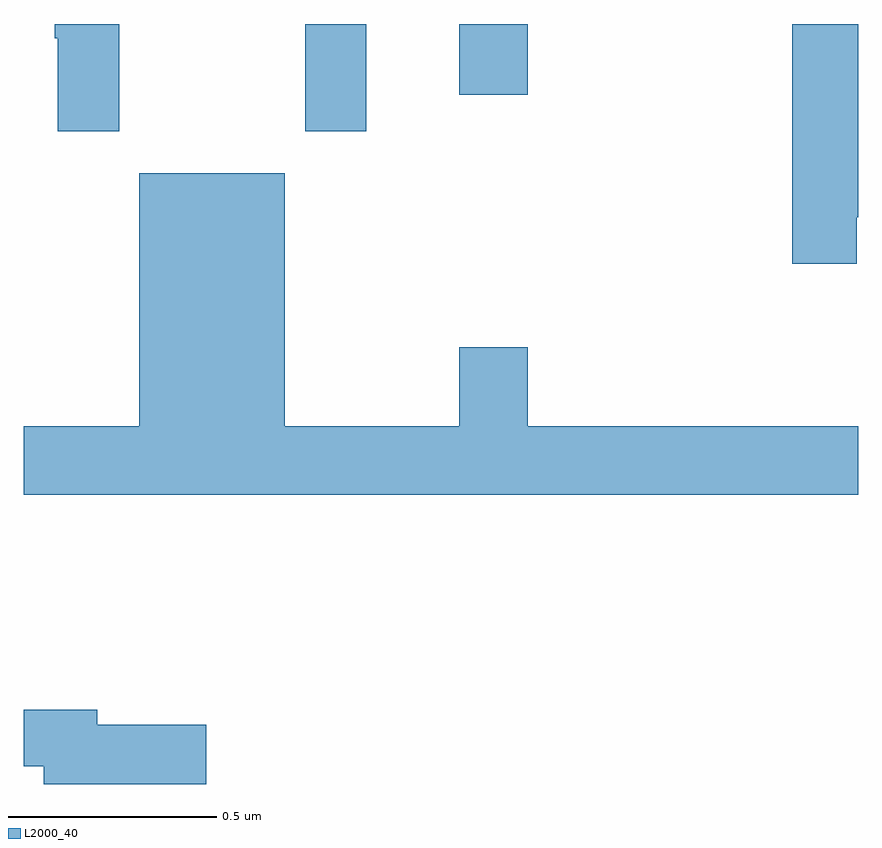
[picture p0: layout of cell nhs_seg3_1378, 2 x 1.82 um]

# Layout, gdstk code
import gdstk
lib = gdstk.Library(unit=1e-6, precision=1e-09)
def R(c, l, rs):  # rectangles x0, y0, x1, y1
    for r in rs: c.add(gdstk.rectangle(r[:2], r[2:], *l))
def P(c, l, *ps):  # polygons
    for p in ps: c.add(gdstk.Polygon(p, *l))
L2000_40 = (2000, 40)

nhs_seg3_1378 = lib.new_cell('nhs_seg3_1378')
R(nhs_seg3_1378, L2000_40, [(128.674,679.143,128.821,679.4), (129.044,679.23,129.208,679.4)])
P(nhs_seg3_1378, L2000_40, [(128.229,679.4),(128.074,679.4),(128.074,679.366),(128.081,679.366),(128.081,679.143),(128.229,679.143)],
  [(129.997,678.937),(130,678.937),(130,679.4),(129.842,679.4),(129.842,678.825),(129.997,678.825)],
  [(130,678.436),(129.208,678.436),(129.208,678.625),(129.044,678.625),(129.044,678.436),(128.626,678.436),(128.626,679.042),(128.276,679.042),(128.276,678.436),(128,678.436),(128,678.272),(130,678.272)],
  [(128.437,677.72),(128.176,677.72),(128.176,677.756),(128,677.756),(128,677.62),(128.048,677.62),(128.048,677.578),(128.437,677.578)])

lib.write_gds('nhs_seg3_1378.gds')
